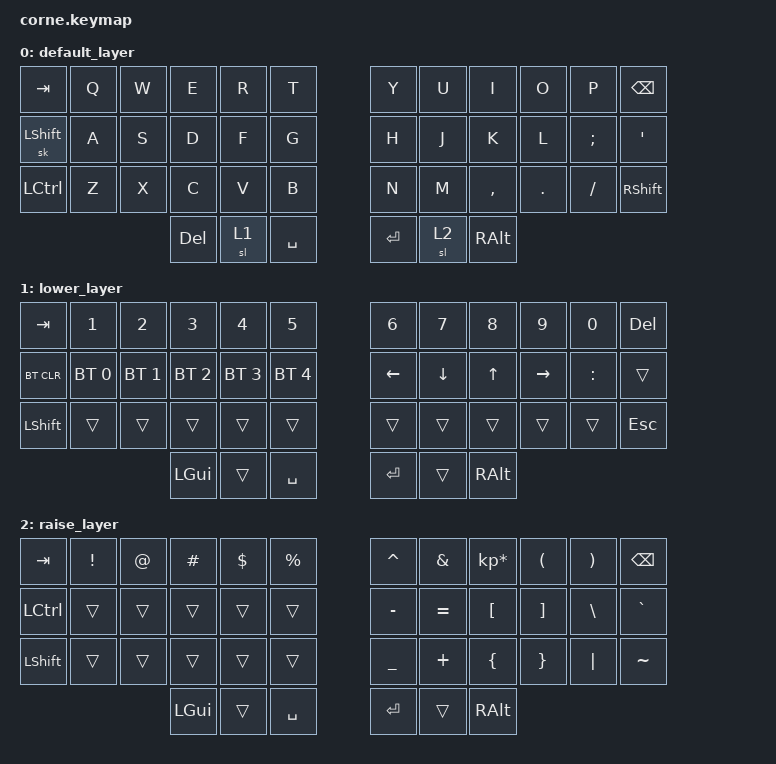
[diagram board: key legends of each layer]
/*
 * Copyright (c) 2020 The ZMK Contributors
 *
 * SPDX-License-Identifier: MIT
 */

#include <behaviors.dtsi>
#include <dt-bindings/zmk/keys.h>
#include <dt-bindings/zmk/bt.h>


/ {
        behaviors {
          td0: tap_dance_0 {
                compatible = "zmk,behavior-tap-dance";
                #binding-cells = <0>;
                tapping-term-ms = <200>;
                bindings = <&kp BKSP>, <&kp DEL>;
          };
          tdq: tap_dance_q {
                compatible = "zmk,behavior-tap-dance";
                #binding-cells = <0>;
                tapping-term-ms = <175>;
                bindings = <&kp Q>, <&kp N1>;
          };
          tdw: tap_dance_w {
                compatible = "zmk,behavior-tap-dance";
                #binding-cells = <0>;
                tapping-term-ms = <175>;
                bindings = <&kp W>, <&kp N2>;
          };
          tde: tap_dance_e {
                compatible = "zmk,behavior-tap-dance";
                #binding-cells = <0>;
                tapping-term-ms = <175>;
                bindings = <&kp E>, <&kp N3>;
          };
          tdr: tap_dance_r {
                compatible = "zmk,behavior-tap-dance";
                #binding-cells = <0>;
                tapping-term-ms = <175>;
                bindings = <&kp R>, <&kp N4>;
          };
          tdt: tap_dance_t {
                compatible = "zmk,behavior-tap-dance";
                #binding-cells = <0>;
                tapping-term-ms = <175>;
                bindings = <&kp T>, <&kp N5>;
          };
          tdy: tap_dance_y {
                compatible = "zmk,behavior-tap-dance";
                #binding-cells = <0>;
                tapping-term-ms = <175>;
                bindings = <&kp Y>, <&kp N6>;
          };
          tdu: tap_dance_u {
                compatible = "zmk,behavior-tap-dance";
                #binding-cells = <0>;
                tapping-term-ms = <175>;
                bindings = <&kp U>, <&kp N7>;
          };
          tdi: tap_dance_i {
                compatible = "zmk,behavior-tap-dance";
                #binding-cells = <0>;
                tapping-term-ms = <175>;
                bindings = <&kp I>, <&kp N8>;
          };
          tdo: tap_dance_o {
                compatible = "zmk,behavior-tap-dance";
                #binding-cells = <0>;
                tapping-term-ms = <175>;
                bindings = <&kp O>, <&kp N9>;
          };
          tdp: tap_dance_p {
                compatible = "zmk,behavior-tap-dance";
                #binding-cells = <0>;
                tapping-term-ms = <175>;
                bindings = <&kp P>, <&kp N0>;
          };
        };

        keymap {
                compatible = "zmk,keymap";

                default_layer {
// -----------------------------------------------------------------------------------------
// |  TAB |  Q  |  W  |  E  |  R  |  T  |   |  Y  |  U   |  I  |  O  |  P  | BKSP |
// | CTRL |  A  |  S  |  D  |  F  |  G  |   |  H  |  J   |  K  |  L  |  ;  |  '   |
// | SHFT |  Z  |  X  |  C  |  V  |  B  |   |  N  |  M   |  ,  |  .  |  /  | ESC  |
//                    | GUI | LWR | SPC |   | ENT | RSE  | ALT |
                        bindings = <
   &kp TAB   &kp Q &kp W &kp E &kp R &kp T &kp Y &kp U  &kp I &kp O  &kp P    &kp BSPC
   &sk LSHFT &kp A &kp S &kp D &kp F &kp G   &kp H &kp J  &kp K     &kp L   &kp SEMI &kp SQT
   &kp LCTRL &kp Z &kp X &kp C &kp V &kp B   &kp N &kp M  &kp COMMA &kp DOT &kp FSLH &kp RSHFT
                  &kp DEL &sl 1 &kp SPACE   &kp RET &sl 2 &kp RALT
                        >;
                };
                lower_layer {
// -----------------------------------------------------------------------------------------
// |  TAB |  1  |  2  |  3  |  4  |  5  |   |  6  |  7  |  8  |  9  |  0  | DEL |
// | BTCLR| BT1 | BT2 | BT3 | BT4 | BT5 |   | LFT | DWN |  UP | RGT |  :  |      |
// | SHFT |     |     |     |     |     |   |     |     |     |     |     |      |
//                    | GUI |     | SPC |   | ENT |     | ALT |
                        bindings = <
   &kp TAB    &kp N1       &kp N2       &kp N3       &kp N4       &kp N5         &kp N6   &kp N7   &kp N8 &kp N9    &kp N0 &kp DEL
   &bt BT_CLR &bt BT_SEL 0 &bt BT_SEL 1 &bt BT_SEL 2 &bt BT_SEL 3 &bt BT_SEL 4   &kp LEFT &kp DOWN &kp UP &kp RIGHT &kp COLON &trans
   &kp LSHFT  &trans       &trans       &trans       &trans       &trans         &trans   &trans   &trans &trans    &trans &kp ESC
                                    &kp LGUI     &trans       &kp SPACE      &kp RET  &trans   &kp RALT
                        >;
                };

                raise_layer {
// -----------------------------------------------------------------------------------------
// |  TAB |  !  |  @  |  #  |  $  |  %  |   |  ^  |  &  |  *  |  (  |  )  | BKSP |
// | CTRL |     |     |     |     |     |   |  -  |  =  |  [  |  ]  |  \  |  `   |
// | SHFT |     |     |     |     |     |   |  _  |  +  |  {  |  }  | "|" |  ~   |
//                    | GUI |     | SPC |   | ENT |     | ALT |
                        bindings = <
   &kp  TAB  &kp EXCL &kp AT &kp HASH &kp DLLR &kp PRCNT   &kp CARET &kp AMPS  &kp KP_MULTIPLY &kp LPAR &kp RPAR &kp BSPC
   &kp LCTRL &trans   &trans &trans   &trans   &trans      &kp MINUS &kp EQUAL &kp LBKT        &kp RBKT &kp BSLH &kp GRAVE
   &kp LSHFT &trans   &trans &trans   &trans   &trans      &kp UNDER &kp PLUS  &kp LBRC        &kp RBRC &kp PIPE &kp TILDE
                             &kp LGUI &trans   &kp SPACE   &kp RET   &trans    &kp RALT
                        >;
                };
        };
};
